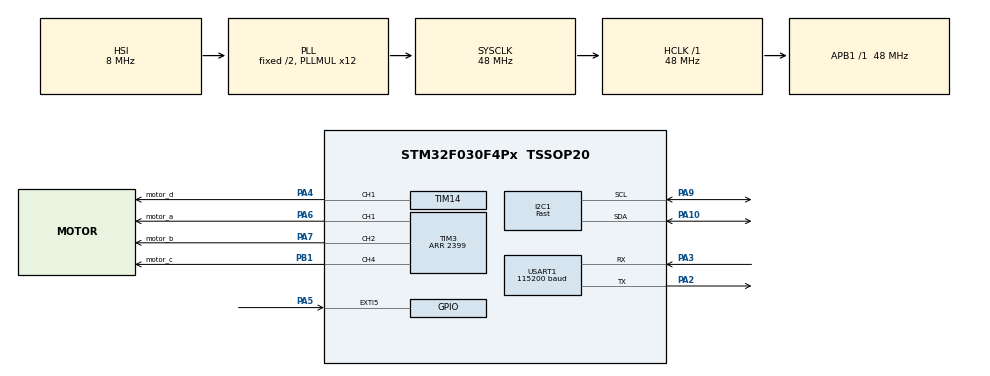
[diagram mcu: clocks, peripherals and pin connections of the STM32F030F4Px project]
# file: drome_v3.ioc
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I2C1.I2C_Speed_Mode=I2C_Fast
I2C1.Timing=0x0000020B
Mcu.Family=STM32F0
Mcu.Name=STM32F030F4Px
Mcu.Package=TSSOP20
NVIC.EXTI4_15_IRQn=true\:2\:0\:true
NVIC.TIM17_IRQn=true\:2\:0\:true
NVIC.USART1_IRQn=true\:0\:0\:true
PA10.Mode=I2C
PA10.Signal=I2C1_SDA
PA13.Mode=Serial-WireDebug
PA13.Signal=SYS_SWDIO
PA14.Mode=Serial-WireDebug
PA14.Signal=SYS_SWCLK
PA2.Mode=Asynchronous
PA2.Signal=USART1_TX
PA3.Mode=Asynchronous
PA3.Signal=USART1_RX
PA4.GPIO_Label=motor_d
PA4.Signal=S_TIM14_CH1
PA5.GPIO_ModeDefaultEXTI=GPIO_MODE_IT_FALLING
PA5.Signal=GPXTI5
PA6.GPIO_Label=motor_a
PA6.Signal=S_TIM3_CH1
PA7.GPIO_Label=motor_b
PA7.Signal=S_TIM3_CH2
PA9.Mode=I2C
PA9.Signal=I2C1_SCL
PB1.GPIO_Label=motor_c
PB1.Signal=S_TIM3_CH4
ProjectManager.TargetToolchain=MDK-ARM V5
RCC.AHBFreq_Value=48000000
RCC.APB1Freq_Value=48000000
RCC.APB1TimFreq_Value=48000000
RCC.HCLKFreq_Value=48000000
RCC.PLLMUL=RCC_PLL_MUL12
RCC.SYSCLKFreq_VALUE=48000000
RCC.SYSCLKSource=RCC_SYSCLKSOURCE_PLLCLK
SH.S_TIM14_CH1.0=TIM14_CH1,PWM Generation1 CH1
SH.S_TIM3_CH1.0=TIM3_CH1,PWM Generation1 CH1
SH.S_TIM3_CH2.0=TIM3_CH2,PWM Generation2 CH2
SH.S_TIM3_CH4.0=TIM3_CH4,PWM Generation4 CH4
TIM14.Period=2399
TIM17.Period=499
TIM17.Prescaler=479
TIM3.Channel-PWM\ Generation2\ CH2=TIM_CHANNEL_2
TIM3.Channel-PWM\ Generation4\ CH4=TIM_CHANNEL_4
TIM3.Period=2399
USART1.BaudRate=115200
VP_TIM14_VS_ClockSourceINT.Mode=Enable_Timer
VP_TIM17_VS_ClockSourceINT.Mode=Enable_Timer
board=drome_v3

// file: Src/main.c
/**
  ******************************************************************************
  * File Name          : main.c
  * Description        : Main program body
  ******************************************************************************
  *
  * COPYRIGHT(c) 2015 STMicroelectronics
  *
  * Redistribution and use in source and binary forms, with or without modification,
  * are permitted provided that the following conditions are met:
  *   1. Redistributions of source code must retain the above copyright notice,
  *      this list of conditions and the following disclaimer.
  *   2. Redistributions in binary form must reproduce the above copyright notice,
  *      this list of conditions and the following disclaimer in the documentation
  *      and/or other materials provided with the distribution.
  *   3. Neither the name of STMicroelectronics nor the names of its contributors
  *      may be used to endorse or promote products derived from this software
  *      without specific prior written permission.
  *
  * THIS SOFTWARE IS PROVIDED BY THE COPYRIGHT HOLDERS AND CONTRIBUTORS "AS IS"
  * AND ANY EXPRESS OR IMPLIED WARRANTIES, INCLUDING, BUT NOT LIMITED TO, THE
  * IMPLIED WARRANTIES OF MERCHANTABILITY AND FITNESS FOR A PARTICULAR PURPOSE ARE
  * DISCLAIMED. IN NO EVENT SHALL THE COPYRIGHT HOLDER OR CONTRIBUTORS BE LIABLE
  * FOR ANY DIRECT, INDIRECT, INCIDENTAL, SPECIAL, EXEMPLARY, OR CONSEQUENTIAL
  * DAMAGES (INCLUDING, BUT NOT LIMITED TO, PROCUREMENT OF SUBSTITUTE GOODS OR
  * SERVICES; LOSS OF USE, DATA, OR PROFITS; OR BUSINESS INTERRUPTION) HOWEVER
  * CAUSED AND ON ANY THEORY OF LIABILITY, WHETHER IN CONTRACT, STRICT LIABILITY,
  * OR TORT (INCLUDING NEGLIGENCE OR OTHERWISE) ARISING IN ANY WAY OUT OF THE USE
  * OF THIS SOFTWARE, EVEN IF ADVISED OF THE POSSIBILITY OF SUCH DAMAGE.
  *
  ******************************************************************************
  */
#include "stm32f0xx_hal.h"

/* USER CODE BEGIN Includes */

#define beta                        0.1f
#define ACCELEROMETER_SENSITIVITY   16384.0f
#define GYROSCOPE_SENSITIVITY       131.07f
#define M_PI                        3.14159265359f
#define sampleFreq                  200.0f     			    // 200 hz sample rate!
#define limmit_I                    3000.0f

#define roll_offset    0//1.41f
#define pitch_offset   0//-2.7f

#define gx_diff 		-445
#define gy_diff 		-9
#define gz_diff 		-27
#define ax_diff 		718
#define ay_diff 		-295
#define az_diff 		0

#define Kp_yaw      20.0f
#define Ki_yaw      0.0f
#define Kd_yaw      0.0f

#define Kp_pitch		20.0f
#define Ki_pitch    0.0f
#define Kd_pitch    9.0f

//#define Kp_roll	    Kp_pitch
//#define Ki_roll  		0.0f
//#define Kd_roll  		Kd_pitch

#include "MPU6050.h"
#include <math.h>

/* USER CODE END Includes */

I2C_HandleTypeDef hi2c1;

TIM_HandleTypeDef htim3;
TIM_HandleTypeDef htim14;
TIM_HandleTypeDef htim17;

UART_HandleTypeDef huart1;

/* USER CODE BEGIN PV */
/* Private variables ---------------------------------------------------------*/

//float Kp_pitch		= 20.0f;

//float Kd_pitch    = 9.3f ;  //9.0f;

float Ref_yaw=0, Ref_pitch=0, Ref_roll=0 ;
float q_yaw, q_pitch, q_roll;                                            // States value
float q1=0, q2=0, q3=0, q4=1 ;
float T_center =0, yaw_center=0;
float Error_yaw=0, Errer_pitch=0, Error_roll=0; 						//States Error
float Sum_Error_yaw=0, Sum_Error_pitch=0, Sum_Error_roll=0;             // Sum of error
float D_Error_yaw=0, D_Error_pitch=0, D_Error_roll=0; 					// error dot
float Del_yaw=0, Del_pitch=0, Del_roll=0;												// Delta states value for rotate axis
float t_compensate = 0;
float T_center_minus = 0;
float y_roll=0, y_pitch=0, y0_roll=0, y0_pitch=0 ;
float D_Error_pitch_f ;
float D_Error_roll_f ;

uint16_t watchdog  = 0;

/* USER CODE for SPPM Receiver  */

uint8_t     index= 0 ;
uint8_t    	rx_buffer[12]={0} ;
int16_t     ch1=0,ch2=0,ch3=0,ch4=0;
int16_t     AccelGyro[6]={0};       // RAW states value
int16_t     motor_A=0, motor_B=0, motor_C=0, motor_D=0 ;// Motors output value

float a, b, c, d, e, f;
/* USER CODE END PV */

void SystemClock_Config(void);
static void MX_GPIO_Init(void);
static void MX_I2C1_Init(void);
static void MX_TIM3_Init(void);
static void MX_TIM14_Init(void);
static void MX_TIM17_Init(void);
static void MX_USART1_UART_Init(void);

/* USER CODE BEGIN PFP */
/* Private function prototypes -----------------------------------------------*/

void Initial_MPU6050(void);
void read_mpu6050(void);
void MPU6050_WriteBits(uint8_t slaveAddr, uint8_t regAddr, uint8_t bitStart, uint8_t length, uint8_t data);
void MPU6050_WriteBit(uint8_t slaveAddr, uint8_t regAddr, uint8_t bitNum, uint8_t data);
void MPU6050_ReadBits(uint8_t slaveAddr, uint8_t regAddr, uint8_t bitStart, uint8_t length, uint8_t *data);
void MPU6050_ReadBit(uint8_t slaveAddr, uint8_t regAddr, uint8_t bitNum, uint8_t *data);
void MPU6050_GetRawAccelGyro(int16_t* AccelGyro);
volatile void Controller(void);
volatile void PID_controller(void);
volatile void Drive_motor_output(void);
volatile void Interrupt_call(void);
volatile void ahrs(void);
float Smooth_filter(float alfa, float new_data, float prev_data);
void UART_Callback(void);

float Butterworth_filter1(float x_data1);
float Butterworth_filter2(float x_data);
/* USER CODE END PFP */

int main(void)
{

  /* MCU Configuration----------------------------------------------------------*/

  /* Reset of all peripherals, Initializes the Flash interface and the Systick. */
  HAL_Init();

  /* Configure the system clock */
  SystemClock_Config();

  /* Initialize all configured peripherals */
	MX_GPIO_Init();
  MX_I2C1_Init();
  MX_TIM3_Init();
  MX_TIM14_Init();
  MX_TIM17_Init();
  MX_USART1_UART_Init();

  /* USER CODE BEGIN 2 */

	Initial_MPU6050();

	MX_GPIO_Init();

	HAL_TIM_PWM_Start(&htim3,TIM_CHANNEL_1);
	HAL_TIM_PWM_Start(&htim3,TIM_CHANNEL_2);
	HAL_TIM_PWM_Start(&htim3,TIM_CHANNEL_4);
	HAL_TIM_PWM_Start(&htim14,TIM_CHANNEL_1);

	HAL_NVIC_EnableIRQ(EXTI4_15_IRQn);

	HAL_Delay(1000);
	HAL_UART_Receive_IT(&huart1, (uint8_t *)(rx_buffer + index), 1);

  /* USER CODE END 2 */

  /* Infinite loop */
  while (1)
  {

  }

}

/** System Clock Configuration
*/
void SystemClock_Config(void)
{

  RCC_OscInitTypeDef RCC_OscInitStruct;
  RCC_ClkInitTypeDef RCC_ClkInitStruct;
  RCC_PeriphCLKInitTypeDef PeriphClkInit;

  RCC_OscInitStruct.OscillatorType = RCC_OSCILLATORTYPE_HSI;
  RCC_OscInitStruct.HSIState = RCC_HSI_ON;
  RCC_OscInitStruct.HSICalibrationValue = 16;
  RCC_OscInitStruct.PLL.PLLState = RCC_PLL_ON;
  RCC_OscInitStruct.PLL.PLLSource = RCC_PLLSOURCE_HSI;
  RCC_OscInitStruct.PLL.PLLMUL = RCC_PLL_MUL12;
  RCC_OscInitStruct.PLL.PREDIV = RCC_PREDIV_DIV1;
  HAL_RCC_OscConfig(&RCC_OscInitStruct);

  RCC_ClkInitStruct.ClockType = RCC_CLOCKTYPE_SYSCLK;
  RCC_ClkInitStruct.SYSCLKSource = RCC_SYSCLKSOURCE_PLLCLK;
  RCC_ClkInitStruct.AHBCLKDivider = RCC_SYSCLK_DIV1;
  RCC_ClkInitStruct.APB1CLKDivider = RCC_HCLK_DIV1;
  HAL_RCC_ClockConfig(&RCC_ClkInitStruct, FLASH_LATENCY_1);

  PeriphClkInit.PeriphClockSelection = RCC_PERIPHCLK_USART1|RCC_PERIPHCLK_I2C1;
  PeriphClkInit.Usart1ClockSelection = RCC_USART1CLKSOURCE_PCLK1;
  PeriphClkInit.I2c1ClockSelection = RCC_I2C1CLKSOURCE_HSI;
  HAL_RCCEx_PeriphCLKConfig(&PeriphClkInit);

  HAL_SYSTICK_Config(HAL_RCC_GetHCLKFreq()/1000);

  HAL_SYSTICK_CLKSourceConfig(SYSTICK_CLKSOURCE_HCLK);

  /* SysTick_IRQn interrupt configuration */
  HAL_NVIC_SetPriority(SysTick_IRQn, 0, 0);
}

/* I2C1 init function */
void MX_I2C1_Init(void)
{

  hi2c1.Instance = I2C1;
  hi2c1.Init.Timing = 0x0000020B;
  hi2c1.Init.OwnAddress1 = 0;
  hi2c1.Init.AddressingMode = I2C_ADDRESSINGMODE_7BIT;
  hi2c1.Init.DualAddressMode = I2C_DUALADDRESS_DISABLED;
  hi2c1.Init.OwnAddress2 = 0;
  hi2c1.Init.OwnAddress2Masks = I2C_OA2_NOMASK;
  hi2c1.Init.GeneralCallMode = I2C_GENERALCALL_DISABLED;
  hi2c1.Init.NoStretchMode = I2C_NOSTRETCH_DISABLED;
  HAL_I2C_Init(&hi2c1);

    /**Configure Analogue filter
    */
  HAL_I2CEx_AnalogFilter_Config(&hi2c1, I2C_ANALOGFILTER_ENABLED);

}

/* TIM3 init function */
void MX_TIM3_Init(void)
{

  TIM_MasterConfigTypeDef sMasterConfig;
  TIM_OC_InitTypeDef sConfigOC;

  htim3.Instance = TIM3;
  htim3.Init.Prescaler = 0;
  htim3.Init.CounterMode = TIM_COUNTERMODE_UP;
  htim3.Init.Period = 2399;
  htim3.Init.ClockDivision = TIM_CLOCKDIVISION_DIV1;
  HAL_TIM_PWM_Init(&htim3);

  sMasterConfig.MasterOutputTrigger = TIM_TRGO_RESET;
  sMasterConfig.MasterSlaveMode = TIM_MASTERSLAVEMODE_DISABLE;
  HAL_TIMEx_MasterConfigSynchronization(&htim3, &sMasterConfig);

  sConfigOC.OCMode = TIM_OCMODE_PWM1;
  sConfigOC.Pulse = 0;
  sConfigOC.OCPolarity = TIM_OCPOLARITY_HIGH;
  sConfigOC.OCFastMode = TIM_OCFAST_DISABLE;
  HAL_TIM_PWM_ConfigChannel(&htim3, &sConfigOC, TIM_CHANNEL_1);

  HAL_TIM_PWM_ConfigChannel(&htim3, &sConfigOC, TIM_CHANNEL_2);

  HAL_TIM_PWM_ConfigChannel(&htim3, &sConfigOC, TIM_CHANNEL_4);

}

/* TIM14 init function */
void MX_TIM14_Init(void)
{

  TIM_OC_InitTypeDef sConfigOC;

  htim14.Instance = TIM14;
  htim14.Init.Prescaler = 0;
  htim14.Init.CounterMode = TIM_COUNTERMODE_UP;
  htim14.Init.Period = 2399;
  htim14.Init.ClockDivision = TIM_CLOCKDIVISION_DIV1;
  HAL_TIM_Base_Init(&htim14);

  HAL_TIM_PWM_Init(&htim14);

  sConfigOC.OCMode = TIM_OCMODE_PWM1;
  sConfigOC.Pulse = 0;
  sConfigOC.OCPolarity = TIM_OCPOLARITY_HIGH;
  sConfigOC.OCFastMode = TIM_OCFAST_DISABLE;
  HAL_TIM_PWM_ConfigChannel(&htim14, &sConfigOC, TIM_CHANNEL_1);

}

/* TIM17 init function */
void MX_TIM17_Init(void)
{

  htim17.Instance = TIM17;
  htim17.Init.Prescaler = 479;
  htim17.Init.CounterMode = TIM_COUNTERMODE_UP;
  htim17.Init.Period = 499;
  htim17.Init.ClockDivision = TIM_CLOCKDIVISION_DIV1;
  htim17.Init.RepetitionCounter = 0;
  HAL_TIM_Base_Init(&htim17);

}

/* USART1 init function */
void MX_USART1_UART_Init(void)
{

  huart1.Instance = USART1;
  huart1.Init.BaudRate = 115200;
  huart1.Init.WordLength = UART_WORDLENGTH_8B;
  huart1.Init.StopBits = UART_STOPBITS_1;
  huart1.Init.Parity = UART_PARITY_NONE;
  huart1.Init.Mode = UART_MODE_TX_RX;
  huart1.Init.HwFlowCtl = UART_HWCONTROL_NONE;
  huart1.Init.OverSampling = UART_OVERSAMPLING_16;
  huart1.Init.OneBitSampling = UART_ONEBIT_SAMPLING_DISABLED ;
  huart1.AdvancedInit.AdvFeatureInit = UART_ADVFEATURE_NO_INIT;
  HAL_UART_Init(&huart1);

}

/** Configure pins as
        * Analog
        * Input
        * Output
        * EVENT_OUT
        * EXTI
*/
void MX_GPIO_Init(void)
{

  GPIO_InitTypeDef GPIO_InitStruct;

  /* GPIO Ports Clock Enable */
  __GPIOA_CLK_ENABLE();
  __GPIOB_CLK_ENABLE();

  /*Configure GPIO pin : PA5 */
  GPIO_InitStruct.Pin = GPIO_PIN_5;
  GPIO_InitStruct.Mode = GPIO_MODE_IT_FALLING;
  GPIO_InitStruct.Pull = GPIO_NOPULL;
  HAL_GPIO_Init(GPIOA, &GPIO_InitStruct);

  /* EXTI interrupt init*/
  HAL_NVIC_SetPriority(EXTI4_15_IRQn, 2, 0);
  //HAL_NVIC_EnableIRQ(EXTI4_15_IRQn);

}

/* USER CODE BEGIN 4 */
void Initial_MPU6050(void)
	{
		HAL_Delay(100); // for stability
			//    Reset to defalt
		MPU6050_WriteBit(MPU6050_DEFAULT_ADDRESS, MPU6050_RA_PWR_MGMT_1, MPU6050_PWR1_DEVICE_RESET_BIT, ENABLE);
		HAL_Delay(100);

	  MPU6050_WriteBits(MPU6050_DEFAULT_ADDRESS, MPU6050_RA_SMPLRT_DIV, 7, 8, 4);

			//	  SetClockSource(MPU6050_CLOCK_PLL_XGYRO)
		MPU6050_WriteBits(MPU6050_DEFAULT_ADDRESS, MPU6050_RA_PWR_MGMT_1, MPU6050_PWR1_CLKSEL_BIT, MPU6050_PWR1_CLKSEL_LENGTH, MPU6050_CLOCK_PLL_ZGYRO);
			//    SetFullScaleGyroRange(MPU6050_GYRO_FS_250)
		MPU6050_WriteBits(MPU6050_DEFAULT_ADDRESS, MPU6050_RA_GYRO_CONFIG, MPU6050_GCONFIG_FS_SEL_BIT, MPU6050_GCONFIG_FS_SEL_LENGTH, MPU6050_GYRO_FS_250);
			//    SetFullScaleAccelRange(MPU6050_ACCEL_FS_2)
		MPU6050_WriteBits(MPU6050_DEFAULT_ADDRESS, MPU6050_RA_GYRO_CONFIG, MPU6050_GCONFIG_FS_SEL_BIT, MPU6050_GCONFIG_FS_SEL_LENGTH, MPU6050_ACCEL_FS_2);
			//    interupt(Enable)
		MPU6050_WriteBit(MPU6050_DEFAULT_ADDRESS, MPU6050_RA_INT_ENABLE, MPU6050_INTERRUPT_DATA_RDY_BIT, ENABLE);

		 //    SetSleepModeStatus(DISABLE)
//		MPU6050_WriteBit(MPU6050_DEFAULT_ADDRESS, MPU6050_RA_PWR_MGMT_1, MPU6050_PWR1_SLEEP_BIT, DISABLE);
//		//			SetDLPF(MPU6050_DLPF_BW_5)

		HAL_Delay(10); // for stability

		MPU6050_WriteBits(MPU6050_DEFAULT_ADDRESS, MPU6050_RA_CONFIG, MPU6050_CFG_DLPF_CFG_BIT, MPU6050_CFG_DLPF_CFG_LENGTH, MPU6050_DLPF_BW_42);

		HAL_Delay(10); // for stability

		MPU6050_WriteBit(MPU6050_DEFAULT_ADDRESS, MPU6050_RA_PWR_MGMT_1, MPU6050_PWR1_SLEEP_BIT, DISABLE);

		HAL_Delay(10); // for stability

		MPU6050_WriteBits(MPU6050_DEFAULT_ADDRESS, MPU6050_RA_CONFIG, MPU6050_CFG_DLPF_CFG_BIT, MPU6050_CFG_DLPF_CFG_LENGTH, MPU6050_DLPF_BW_42);
		HAL_Delay(10); // for stability

	  MPU6050_WriteBits(MPU6050_DEFAULT_ADDRESS, MPU6050_RA_SMPLRT_DIV, 7, 8, 4);
}

void MPU6050_WriteBits(uint8_t slaveAddr, uint8_t regAddr, uint8_t bitStart, uint8_t length, uint8_t data)
{
    //      010 value to write
    // 76543210 bit numbers
    //    xxx   args: bitStart=4, length=3
    // 00011100 mask byte
    // 10101111 original value (sample)
    // 10100011 original & ~mask
    // 10101011 masked | value
    uint8_t tmp;
		HAL_I2C_Mem_Read(&hi2c1,slaveAddr,regAddr,1,&tmp,1,1);
    uint8_t mask = ((1 << length) - 1) << (bitStart - length + 1);
    data <<= (bitStart - length + 1); // shift data into correct position
    data &= mask; // zero all non-important bits in data
    tmp &= ~(mask); // zero all important bits in existing byte
    tmp |= data; // combine data with existing byte
    HAL_I2C_Mem_Write(&hi2c1,slaveAddr,regAddr,1,&tmp,1,1);
}

void MPU6050_WriteBit(uint8_t slaveAddr, uint8_t regAddr, uint8_t bitNum, uint8_t data)
{
    uint8_t tmp;
		HAL_I2C_Mem_Read(&hi2c1,slaveAddr,regAddr,1,&tmp,1,1);
    tmp = (data != 0) ? (tmp | (1 << bitNum)) : (tmp & ~(1 << bitNum));
    HAL_I2C_Mem_Write(&hi2c1,slaveAddr,regAddr,1,&tmp,1,1);
}

void MPU6050_ReadBits(uint8_t slaveAddr, uint8_t regAddr, uint8_t bitStart, uint8_t length, uint8_t *data)
{
    // 01101001 read byte
    // 76543210 bit numbers
    //    xxx   args: bitStart=4, length=3
    //    010   masked
    //   -> 010 shifted
    uint8_t tmp;
		HAL_I2C_Mem_Read(&hi2c1,slaveAddr,regAddr,1,&tmp,1,1);
    uint8_t mask = ((1 << length) - 1) << (bitStart - length + 1);
    tmp &= mask;
    tmp >>= (bitStart - length + 1);
    *data = tmp;
}

void MPU6050_ReadBit(uint8_t slaveAddr, uint8_t regAddr, uint8_t bitNum, uint8_t *data)
{
    uint8_t tmp;
		HAL_I2C_Mem_Read(&hi2c1,slaveAddr,regAddr,1,&tmp,1,1);
    *data = tmp & (1 << bitNum);
}
void MPU6050_GetRawAccelGyro(int16_t* AccelGyro)
{
    uint8_t tmpBuffer[14];
	  HAL_I2C_Mem_Read(&hi2c1,MPU6050_DEFAULT_ADDRESS,MPU6050_RA_ACCEL_XOUT_H,1,tmpBuffer,14,2);
    /* Get acceleration */
    for (int i = 0; i < 3; i++)
        AccelGyro[i] = ((int16_t) ((uint16_t) tmpBuffer[2 * i] << 8) + tmpBuffer[2 * i + 1]);
    /* Get Angular rate */
    for (int i = 4; i < 7; i++)
        AccelGyro[i - 1] = ((int16_t) ((uint16_t) tmpBuffer[2 * i] << 8) + tmpBuffer[2 * i + 1]);

		ahrs();
}

volatile void PID_controller(void)
{
	static float T_center_buffer;
//  float Buf_D_Error_yaw   =Error_yaw;
	float Buf_D_Errer_pitch =Errer_pitch;
	float Buf_D_Error_roll  =Error_roll;

	T_center_buffer    = (float)ch3 *   20.0f;

	T_center = Smooth_filter(0.4f, T_center_buffer, T_center);

	Error_yaw 	= (float)ch4 * 2.5f - q_yaw;
	//Error_yaw 	= - q_yaw;
	Errer_pitch = (float)ch2 * -0.3f - (q_pitch - pitch_offset)	;
	Error_roll 	= (float)ch1 * 0.3f - (q_roll - roll_offset)	;

//	Sum_Error_yaw 	+= Error_yaw   /sampleFreq ;
//	Sum_Error_pitch += Errer_pitch ;//sampleFreq ;
//	Sum_Error_roll 	+= Error_roll  ;//sampleFreq ;
//
//    // protect
//	if(Sum_Error_yaw>limmit_I)Sum_Error_yaw =limmit_I;
//	if(Sum_Error_yaw<-limmit_I)Sum_Error_yaw =-limmit_I;
//	if(Sum_Error_pitch>limmit_I)Sum_Error_pitch =limmit_I;
//	if(Sum_Error_pitch<-limmit_I)Sum_Error_pitch =-limmit_I;
//	if(Sum_Error_roll>limmit_I)Sum_Error_roll =limmit_I;
//	if(Sum_Error_roll<-limmit_I)Sum_Error_roll =-limmit_I;

//	D_Error_yaw =  (Error_yaw-Buf_D_Error_yaw)    *sampleFreq ;
	D_Error_pitch =(Errer_pitch-Buf_D_Errer_pitch)*sampleFreq;
	D_Error_roll = (Error_roll-Buf_D_Error_roll)*sampleFreq;

//	D_Error_pitch_f = Smooth_filter(0.8f, D_Error_pitch, D_Error_pitch_f);
//	D_Error_roll_f = Smooth_filter(0.8f, D_Error_roll, D_Error_roll_f);

//	Del_yaw		= (Kp_yaw   * Error_yaw)		+ (Ki_yaw	* Sum_Error_yaw)       	 + (Kd_yaw * D_Error_yaw) ;
//	Del_pitch	= (Kp_pitch * Errer_pitch)	+ (Ki_pitch	* Sum_Error_pitch)     + (Kd_pitch * D_Error_pitch) ;
//	Del_roll	= (Kp_roll  * Error_roll)		+ (Ki_roll	* Sum_Error_roll)      + (Kd_roll * D_Error_roll) ;

	Del_yaw		= (Kp_yaw   * Error_yaw)		+ (Ki_yaw	* Sum_Error_yaw)       	 + (Kd_yaw * D_Error_yaw) ;
	Del_pitch	= (Kp_pitch * Errer_pitch)	+ (Ki_pitch	* Sum_Error_pitch)     + (Kd_pitch * D_Error_pitch) ;
	Del_roll	= (Kp_pitch  * Error_roll)		+ (Ki_pitch	* Sum_Error_roll)      + (Kd_pitch * D_Error_roll) ;

	motor_A = T_center +Del_pitch	-Del_roll -Del_yaw ;
	motor_B = T_center +Del_pitch	+Del_roll +Del_yaw ;
	motor_C = T_center -Del_pitch	+Del_roll -Del_yaw ;
	motor_D = T_center -Del_pitch	-Del_roll +Del_yaw ;

	// limmit output max, min
	if(motor_A < 0) motor_A = 0 ;
	if(motor_B < 0) motor_B = 0 ;
	if(motor_C < 0) motor_C = 0 ;
	if(motor_D < 0) motor_D = 0 ;

	if(motor_A > 2399) motor_A = 2399 ;
	if(motor_B > 2399) motor_B = 2399 ;
	if(motor_C > 2399) motor_C = 2399 ;
	if(motor_D > 2399) motor_D = 2399 ;

}

volatile void Drive_motor_output(void)
{

	TIM3 ->CCR1 = motor_A ;
	TIM3 ->CCR2 = motor_B ;
	TIM3 ->CCR4 = motor_C ;
	TIM14->CCR1 = motor_D ;

}
volatile void Interrupt_call(void)
{

		/* Read data from sensor */
		MPU6050_GetRawAccelGyro(AccelGyro);

		/* Controller */
		PID_controller();

    if (watchdog > 0) watchdog --;

		if((T_center < 50) || (watchdog == 0))
		{

//			Sum_Error_yaw=0;
//			Sum_Error_pitch=0;
//			Sum_Error_roll=0;

			motor_A=0;
			motor_B=0;
			motor_C=0;
			motor_D=0;
		}

		Drive_motor_output();

}

volatile void ahrs(void)
{
	// quaternion base process
	float Norm;
	float ax = ((float)AccelGyro[0]-ax_diff)/ACCELEROMETER_SENSITIVITY;
	float ay = ((float)AccelGyro[1]-ay_diff)/ACCELEROMETER_SENSITIVITY;
	float az = ((float)AccelGyro[2]-az_diff)/ACCELEROMETER_SENSITIVITY;
	float gx = ((float)(AccelGyro[3]-gx_diff)/ GYROSCOPE_SENSITIVITY )*M_PI/180 ;
	float gy = ((float)(AccelGyro[4]-gy_diff)/ GYROSCOPE_SENSITIVITY )*M_PI/180 ;
	float gz = ((float)(AccelGyro[5]-gz_diff)/ GYROSCOPE_SENSITIVITY )*M_PI/180 ;

	a = Smooth_filter(0.001f, AccelGyro[3], a);
	b = Smooth_filter(0.001f, AccelGyro[4], b);
	c = Smooth_filter(0.001f, AccelGyro[5], c);
	d = Smooth_filter(0.001f, AccelGyro[0], d);
	e = Smooth_filter(0.001f, AccelGyro[1], e);
	f = Smooth_filter(0.001f, AccelGyro[2], f);

	float q1_dot = 0.5 * (-q2 * gx - q3 * gy - q4 * gz);
	float q2_dot = 0.5 * ( q1 * gx + q3 * gz - q4 * gy);
	float q3_dot = 0.5 * ( q1 * gy - q2 * gz + q4 * gx);
	float q4_dot = 0.5 * ( q1 * gz + q2 * gy - q3 * gx);

	if(!((ax == 0) && (ay == 0) && (az == 0)))
	{
		// Normalise
		Norm = sqrtf(ax * ax + ay * ay + az * az);
		ax /= Norm;
		ay /= Norm;
		az /= Norm;

		float _2q1 = 2 * q1;
		float _2q2 = 2 * q2;
		float _2q3 = 2 * q3;
		float _2q4 = 2 * q4;
		float _4q1 = 4 * q1;
		float _4q2 = 4 * q2;
		float _4q3 = 4 * q3;
		float _8q2 = 8 * q2;
		float _8q3 = 8 * q3;
		float q1q1 = q1 * q1;
		float q2q2 = q2 * q2;
		float q3q3 = q3 * q3;
		float q4q4 = q4 * q4;
		// Gradient decent
		float s1 = _4q1 * q3q3 + _2q4 * ax + _4q1 * q2q2 - _2q2 * ay;
		float s2 = _4q2 * q4q4 - _2q4 * ax + 4 * q1q1 * q2 - _2q1 * ay - _4q2 + _8q2 * q2q2 + _8q2 * q3q3 + _4q2 * az;
		float s3 = 4 * q1q1 * q3 + _2q1 * ax + _4q3 * q4q4 - _2q4 * ay - _4q3 + _8q3 * q2q2 + _8q3 * q3q3 + _4q3 * az;
		float s4 = 4 * q2q2 * q4 - _2q2 * ax + 4 * q3q3 * q4 - _2q3 * ay;
		// Normalise
		Norm = sqrtf(s1 * s1 + s2 * s2 + s3 * s3 + s4 * s4); // normalise step magnitude
		s1 /= Norm;
		s2 /= Norm;
		s3 /= Norm;
		s4 /= Norm;
		// compensate acc
		q1_dot -= (beta * s1);
		q2_dot -= (beta * s2);
		q3_dot -= (beta * s3);
		q4_dot -= (beta * s4);
	}
	// Integrate
	q1 += q1_dot / sampleFreq;
	q2 += q2_dot / sampleFreq;
	q3 += q3_dot / sampleFreq;
	q4 += q4_dot / sampleFreq;
	// Normalise
	Norm = sqrtf(q1 * q1 + q2 * q2 + q3 * q3 + q4 * q4 );
	q1 /= Norm;
	q2 /= Norm;
	q3 /= Norm;
	q4 /= Norm;
	// convert to euler
	y_pitch =  2*(q3*q4 + q1*q2);

	float x =  2*(0.5 - q2*q2 - q3*q3);

	q_roll = atan2f (y_pitch,x)* -180.0f / M_PI;
	y_roll = 2*(q2*q4 - q1*q3)	;
	q_pitch = asinf(y_roll)* -180.0f / M_PI;
	q_yaw = gz* -180.0f / M_PI;

}

float Smooth_filter(float alfa, float new_data, float prev_data)
{
  float output = prev_data + (alfa * (new_data - prev_data));
  return output;
}

void UART_Callback(void)
{
		int8_t _ch1 = (int8_t)rx_buffer[index - 4];
		int8_t _ch2 = (int8_t)rx_buffer[index - 3];
		int8_t _ch3 = (int8_t)rx_buffer[index - 2];
		int8_t _ch4 = (int8_t)rx_buffer[index - 1];

	if (rx_buffer[index-5] == 0xFE && index >= 5 && (_ch1+_ch2+_ch3+_ch4) == (int8_t)rx_buffer[index])
	{
		watchdog = 200;
//		ch1 = (int8_t)rx_buffer[index - 4];
//		ch2 = (int8_t)rx_buffer[index - 3];
//		ch3 = (int8_t)rx_buffer[index - 2];
//		ch4 = (int8_t)rx_buffer[index - 1];
		ch1 = _ch1;
		ch2 = _ch2;
		ch3 = _ch3;
		ch4 = _ch4;
		index = 0;
	}

  index++;
  /* To avoid buffer overflow */
  if(index == 12) index = 0;

  /* Start another reception: provide the buffer pointer with offset and the buffer size */
  HAL_UART_Receive_IT(&huart1, (uint8_t *)(rx_buffer + index), 1);
}

float Butterworth_filter1(float x_data1)
{
	static float x_prev_11, x_prev_21, y_data1, y_prev_11, y_prev_21;
	// lowpass filter butterworth order 2nd fc 20 hz sampling 200hz

	x_prev_21 = x_prev_11;
	x_prev_11 = x_data1 ;

	y_prev_21 = y_prev_11;
	y_prev_11 = y_data1 ;

	float nume = (x_data1+ 2.0f * x_prev_11 +  x_prev_21);
	float denom = (- 1.1429804563522339f * y_prev_11 +  0.412801593542099f * y_prev_21);
	y_data1 = 0.067455276846885681f * nume - denom;
	return y_data1;
}

float Butterworth_filter2(float x_data)
{
	static float x_prev_1, x_prev_2, y_data, y_prev_1, y_prev_2;
	// lowpass filter butterworth order 2nd fc 20 hz sampling 200hz

	x_prev_2 = x_prev_1;
	x_prev_1 = x_data ;

	y_prev_2 = y_prev_1;
	y_prev_1 = y_data ;

	float nume = (x_data + 2.0f * x_prev_1 +  x_prev_2);
	float denom = (- 1.1429804563522339f * y_prev_1 +  0.412801593542099f * y_prev_2);
	y_data = 0.067455276846885681f * nume - denom;
	return y_data;
}
/* USER CODE END 4 */

/************************ (C) COPYRIGHT STMicroelectronics *****END OF FILE****/
